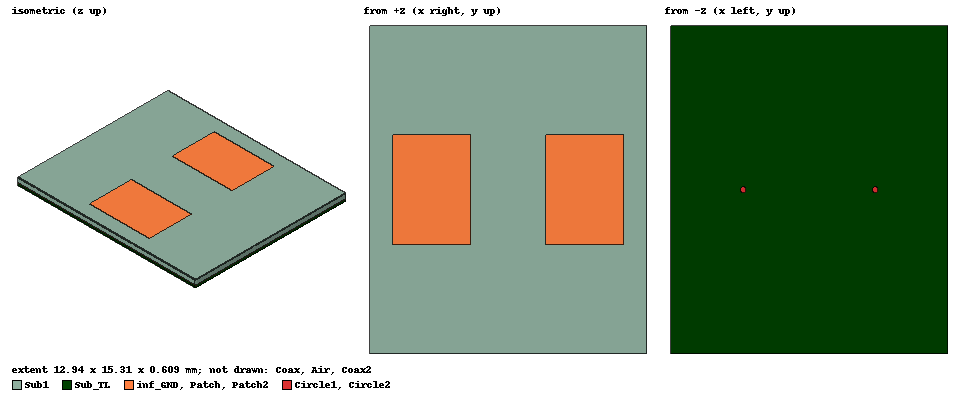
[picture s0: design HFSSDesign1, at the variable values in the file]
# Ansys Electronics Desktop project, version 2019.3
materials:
  vacuum: permittivity=1
  Rogers RT/duroid 5880 (tm): permittivity=2.2 dielectric_loss_tangent=0.0009
  pec: conductivity=1e+30
  Rogers RO4003 (tm): permittivity=3.55 dielectric_loss_tangent=0.0027

design HFSSDesign1 (HFSS, DrivenModal, model units mm)
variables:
  Lp = 3.63mm  # optimise 1.961496581mm..5.884489743mm
  Wp = 5.17mm  # optimise 2.538622579mm..7.615867737mm
  hs = 0.406mm
  Ws = 12.240310345*hs+Wp*2
  Ls = 14*hs+Lp*2
  xsub = -Ls/2
  ysub = -Ws/2
  xfeed = 1.33mm  # optimise 0.4620027115mm..1.3860081345mm
  dp = 3.5mm  # optimise 0.19101913mm..0.57305739mm
  rcoax = 0.14mm
  hcoax = 0.203mm
  rprope = 0.07mm
  Lair = 0.01+Ls
  Wair = 0.01+Ws
  xair = Lair/2
  yair = Wair/2
  hair = 5mm
  yfeed = 0mm
  xp = dp/2
  yp = -Wp/2
  hgnd = -0.032mm
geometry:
  Sub1 [Rogers RO4003 (tm)] = box(corner=(xsub, ysub, 0mm), size=(Ls, Ws, hs))
  Patch [Rogers RT/duroid 5880 (tm)] = rectangle(corner=(xp, yp, hs), x_size=Lp, y_size=Wp)
  Coax [vacuum] = cylinder(axis=Z, base_centre=(xp+xfeed, yfeed, 0mm), radius=rcoax, height=-hcoax)
  Coax_Pin [pec] = cylinder(axis=Z, base_centre=(xp+xfeed, yfeed, 0mm), radius=rprope, height=-hcoax)
  Prope [pec] = cylinder(axis=Z, base_centre=(xp+xfeed, yfeed, 0mm), radius=rprope, height=hs)
  Air [vacuum] = box(corner=(-xair, -yair, -hcoax), size=(Lair, Wair, hair +0.3mm))
  Patch2 = rectangle(corner=(xp-Lp-dp, yp, hs), x_size=Lp, y_size=Wp)
  Coax2 [vacuum] = cylinder(axis=Z, base_centre=(-(xp+xfeed), yfeed, 0mm), radius=rcoax, height=-hcoax)
  Coax_Pin2 [pec] = cylinder(axis=Z, base_centre=(-(xp+xfeed), yfeed, 0mm), radius=rprope, height=-hcoax)
  Prope2 [pec] = cylinder(axis=Z, base_centre=(-(xp+xfeed), yfeed, 0mm), radius=rprope, height=hs)
  inf_GND [pec] = box(corner=(xsub, ysub, 0mm), size=(Ls, Ws, hgnd))
  Cylinder_cut_2 = cylinder(axis=Z, base_centre=(-(xp+xfeed), yfeed, 0), radius=rcoax, height=hgnd)
  Cylinder_cut_1 = cylinder(axis=Z, base_centre=(xp+xfeed, yfeed, 0), radius=rcoax, height=hgnd)
  inf_GND.subtract(Cylinder_cut_1)
  inf_GND.subtract(Cylinder_cut_2)
  Sub_TL [Rogers RO4003 (tm)] = box(corner=(xsub, ysub, 0mm), size=(Ls, Ws, -hcoax))
  Circle1 = circle(normal=Z, centre=(-(xp+xfeed), yfeed, -hcoax), radius=rcoax)
  Circle2 = circle(normal=Z, centre=(xfeed+xp, yfeed, -hcoax), radius=rcoax)
  group Input_feed1 = Coax, Coax_Pin, Prope
  group Input_feed2 = Coax2, Coax_Pin2, Prope2
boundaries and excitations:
  PerfE_Patch: Perfect E Objects=Patch
  Rad1: Radiation Faces=Air.face(+x, +y, -y, -x, +z)
  PerfE1: Perfect E Objects=Patch2
  1: Wave Port Objects=Circle1 NumModes=1 Modes{Mode1{CharImp=Zpi}}
  2: Wave Port Objects=Circle2 NumModes=1 Modes{Mode1{CharImp=Zpi}}
  reference conductors: inf_GND
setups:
  Setup1: HfssDriven Frequency=20GHz MaxDeltaS=0.02 MaximumPasses=18 MinimumPasses=1 MinimumConvergedPasses=1 PercentRefinement=30 BasisOrder=1 PortAccuracy=2
    sweep Sweep: 18GHz to 22GHz step 0.1GHz; Type=Fast SaveFields SaveRadFields GenerateFieldsForAllFreqs
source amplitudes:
  1:1: 1W 0deg
  2:1: 0W 0deg
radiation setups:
  e_plane: Infinite Sphere Theta=-180deg..180deg step 2deg Phi=0deg..0deg step 1deg
  h_plane: Infinite Sphere Theta=-180deg..180deg step 2deg Phi=90deg..90deg step 1deg
  3d: Infinite Sphere Theta=-180deg..180deg step 2deg Phi=0deg..360deg step 2deg
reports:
  Eradation_pattern: abs(rETotal) vs Theta on Setup1 : LastAdaptive, e_plane [Phi=all Freq=20GHz]
  Hradation_pattern: abs(rETotal) vs Theta on Setup1 : LastAdaptive, h_plane [Phi=all Freq=20GHz]
  Co_X_graph: dB10normalize(GainPhi), dB10normalize(GainTheta) vs Theta on Setup1 : LastAdaptive, e_plane [Phi=0deg Freq=20GHz]
  Port Zo Plot 1: mag(Zo(1)) vs Freq on Setup1 : Sweep; markers MX1 at x=2.0003783e+10
  S Parameter Plot 1: dB(S(1,1)) vs Freq on Setup1 : Sweep; markers MX1 at x=1.9841695e+10, MX2 at x=2.0211817e+10
  Z Parameter Plot 1: mag(Z(1,1)) vs Freq on Setup1 : Sweep; markers MX1 at x=2.0003367e+10
  rE Plot 1: rETotal vs Phi, Theta on Setup1 : LastAdaptive, 3d [Freq=20GHz]
  Gain Plot 1: mag(GainTotal) vs Phi, Theta on Setup1 : LastAdaptive, 3d [Freq=20GHz]
  Gain Plot 2: mag(GainTotal) vs Phi, Theta on Setup1 : LastAdaptive, e_plane [Freq=20GHz]
